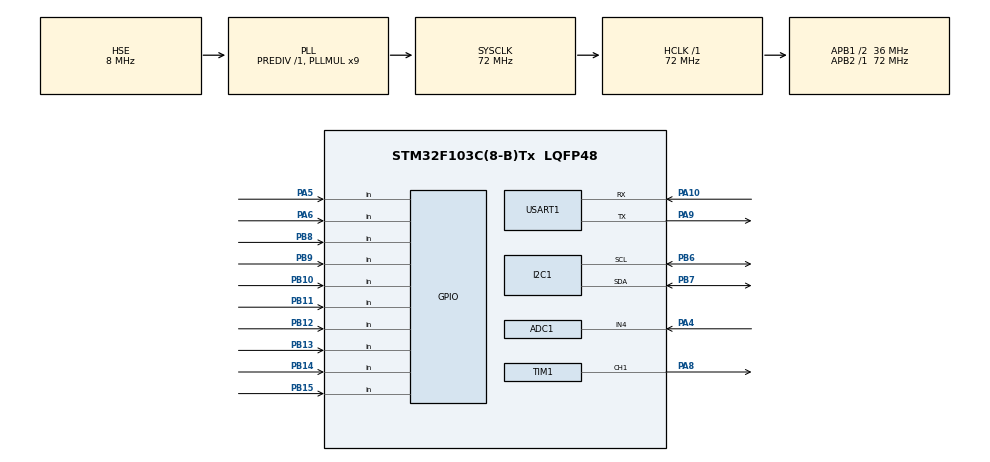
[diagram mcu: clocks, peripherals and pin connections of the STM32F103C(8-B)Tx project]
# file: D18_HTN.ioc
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ADC1.Channel-0\#ChannelRegularConversion=ADC_CHANNEL_4
ADC1.NbrOfConversionFlag=1
ADC1.Rank-0\#ChannelRegularConversion=1
ADC1.SamplingTime-0\#ChannelRegularConversion=ADC_SAMPLETIME_1CYCLE_5
ADC1.master=1
Mcu.Family=STM32F1
Mcu.Name=STM32F103C(8-B)Tx
Mcu.Package=LQFP48
NVIC.ADC1_2_IRQn=true\:3\:0\:true\:false\:true\:true\:true\:true
NVIC.PriorityGroup=NVIC_PRIORITYGROUP_4
NVIC.TIM3_IRQn=true\:1\:0\:true\:false\:true\:true\:true\:true
NVIC.USART1_IRQn=true\:2\:0\:true\:false\:true\:true\:true\:true
PA10.Mode=Asynchronous
PA10.Signal=USART1_RX
PA13.Mode=Serial_Wire
PA13.Signal=SYS_JTMS-SWDIO
PA14.Mode=Serial_Wire
PA14.Signal=SYS_JTCK-SWCLK
PA4.Signal=ADCx_IN4
PA5.GPIO_PuPd=GPIO_PULLUP
PA5.Signal=GPIO_Input
PA6.GPIO_PuPd=GPIO_PULLUP
PA6.Signal=GPIO_Input
PA8.Signal=S_TIM1_CH1
PA9.Mode=Asynchronous
PA9.Signal=USART1_TX
PB10.GPIO_PuPd=GPIO_PULLUP
PB10.Signal=GPIO_Input
PB11.GPIO_PuPd=GPIO_PULLUP
PB11.Signal=GPIO_Input
PB12.GPIO_PuPd=GPIO_PULLUP
PB12.Signal=GPIO_Input
PB13.GPIO_PuPd=GPIO_PULLUP
PB13.Signal=GPIO_Input
PB14.GPIO_PuPd=GPIO_PULLUP
PB14.Signal=GPIO_Input
PB15.GPIO_PuPd=GPIO_PULLUP
PB15.Signal=GPIO_Input
PB6.Mode=I2C
PB6.Signal=I2C1_SCL
PB7.Mode=I2C
PB7.Signal=I2C1_SDA
PB8.GPIO_PuPd=GPIO_PULLUP
PB8.Signal=GPIO_Input
PB9.GPIO_PuPd=GPIO_PULLUP
PB9.Signal=GPIO_Input
PD0-OSC_IN.Mode=HSE-External-Oscillator
PD0-OSC_IN.Signal=RCC_OSC_IN
PD1-OSC_OUT.Mode=HSE-External-Oscillator
PD1-OSC_OUT.Signal=RCC_OSC_OUT
ProjectManager.HeapSize=0x200
ProjectManager.StackSize=0x400
ProjectManager.TargetToolchain=MDK-ARM V5.32
RCC.ADCPresc=RCC_ADCPCLK2_DIV6
RCC.AHBFreq_Value=72000000
RCC.APB1CLKDivider=RCC_HCLK_DIV2
RCC.APB1Freq_Value=36000000
RCC.APB1TimFreq_Value=72000000
RCC.APB2Freq_Value=72000000
RCC.APB2TimFreq_Value=72000000
RCC.HCLKFreq_Value=72000000
RCC.PLLMUL=RCC_PLL_MUL9
RCC.PLLSourceVirtual=RCC_PLLSOURCE_HSE
RCC.SYSCLKFreq_VALUE=72000000
RCC.SYSCLKSource=RCC_SYSCLKSOURCE_PLLCLK
RCC.USBFreq_Value=72000000
SH.ADCx_IN4.0=ADC1_IN4,IN4
SH.S_TIM1_CH1.0=TIM1_CH1,PWM Generation1 CH1
TIM1.Channel-PWM\ Generation1\ CH1=TIM_CHANNEL_1
TIM1.Period=999
TIM1.Prescaler=71
TIM1.Pulse-PWM\ Generation1\ CH1=250
TIM3.Period=999
TIM3.Prescaler=71
USART1.VirtualMode=VM_ASYNC
VP_TIM1_VS_ClockSourceINT.Mode=Internal
VP_TIM3_VS_ClockSourceINT.Mode=Internal
board=custom

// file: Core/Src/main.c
/* USER CODE BEGIN Header */
/* USER CODE END Header */
#include "main.h"

/* USER CODE BEGIN Includes */
#include "keypad.h"
#include "lcd-i2c.h"
#include "buzzer.h"
#include "speaker.h"
#include <stdio.h>
#include <string.h>
/* USER CODE END Includes */

ADC_HandleTypeDef hadc1;

I2C_HandleTypeDef hi2c1;

TIM_HandleTypeDef htim1;
TIM_HandleTypeDef htim3;

UART_HandleTypeDef huart1;

void SystemClock_Config(void);
static void MX_GPIO_Init(void);
static void MX_ADC1_Init(void);
static void MX_I2C1_Init(void);
static void MX_TIM1_Init(void);
static void MX_TIM3_Init(void);
static void MX_USART1_UART_Init(void);

/* USER CODE BEGIN 0 */

// Hàm dùng chung: Truyền mã phím vào -> Loa tự kêu + Lấy được tên nốt
void Play_Key_Note(uint8_t key, char* note_str) {
    if (key == 0x01)      { Buzzer_PlayNote(524);  if(note_str) strcpy(note_str, "C5 "); }
    else if (key == 0x02) { Buzzer_PlayNote(587);  if(note_str) strcpy(note_str, "D5 "); }
    else if (key == 0x04) { Buzzer_PlayNote(661);  if(note_str) strcpy(note_str, "E5 "); }
    else if (key == 0x08) { Buzzer_PlayNote(700);  if(note_str) strcpy(note_str, "F5 "); }
    else if (key == 0x10) { Buzzer_PlayNote(784);  if(note_str) strcpy(note_str, "G5 "); }
    else if (key == 0x20) { Buzzer_PlayNote(880);  if(note_str) strcpy(note_str, "A5 "); }
    else if (key == 0x40) { Buzzer_PlayNote(988);  if(note_str) strcpy(note_str, "B5 "); }
    else if (key == 0x80) { Buzzer_PlayNote(1047); if(note_str) strcpy(note_str, "C6 "); }
    else                  { Buzzer_PlayNote(0);    if(note_str) strcpy(note_str, "---"); }
}
/* USER CODE END 0 */

int main(void)
{

  /* MCU Configuration--------------------------------------------------------*/

  /* Reset of all peripherals, Initializes the Flash interface and the Systick. */
  HAL_Init();

  /* Configure the system clock */
  SystemClock_Config();

  /* Initialize all configured peripherals */
  MX_GPIO_Init();
  MX_ADC1_Init();
  MX_I2C1_Init();
  MX_TIM1_Init();
  MX_TIM3_Init();
  MX_USART1_UART_Init();
  /* USER CODE BEGIN 2 */
HAL_TIM_Base_Start_IT(&htim3);
LCD_Init();
Buzzer_Init();
Speaker_Init(&hadc1);
  /* USER CODE END 2 */

  /* Infinite loop */
	while (1)
  {

    /* USER CODE BEGIN 3 */
    static uint32_t last_lcd_update = 0;
    static uint8_t system_mode = 0;      // 0 (Free), 1 (Record)
    static uint8_t action_state = 0;     // 0: Chờ, 1: Đang ghi, 2: Đang phát lại

    static uint8_t last_pa5 = 1;
    static uint8_t last_pa6 = 1;

// --- BIẾN THÊM VÀO ĐỂ FIX LỖI CHO MODE 2 ---
static uint32_t last_button_tick = 0;
static SongSelect_t current_selected_song = SONG_STOPPED;    // --- KHAI BÁO CÁC BIẾN CHO TÍNH NĂNG GHI/PHÁT ---
    static uint8_t rec_keys[50];         // Mảng lưu trữ tối đa 50 nốt nhạc
    static uint8_t rec_count = 0;        // Số nốt đã được ghi
    static uint8_t last_rec_key = 0;     // Chống dội khi ghi âm (nhấn giữ chỉ tính 1 nốt)
    static uint32_t play_last_tick = 0;  // Bộ đếm thời gian khi phát tự động
    static uint8_t play_idx = 0;         // Vị trí nốt đang phát lại

    char lcd_row1[17] = "                ";
    char lcd_row2[17] = "                ";
    char current_note_str[4] = "---";

    // --- 1. LẤY MÃ PHÍM ---
    uint8_t key = Keypad_GetConfirmedKey();
    uint8_t current_pa5 = HAL_GPIO_ReadPin(GPIOA, GPIO_PIN_5);
    uint8_t current_pa6 = HAL_GPIO_ReadPin(GPIOA, GPIO_PIN_6);

    // --- 2. LOGIC NÚT ĐIỀU KHIỂN (Xung cạnh xuống) ---
    if (last_pa5 == 1 && current_pa5 == 0) {
        system_mode++;
        if (system_mode > 2) system_mode = 0;

        action_state = 0;
        Buzzer_PlayNote(0);
    }

    if (last_pa6 == 1 && current_pa6 == 0) {
        if (system_mode == 1) {
            action_state++;
            if (action_state > 2) action_state = 0;

            // Nếu bắt đầu chuyển sang chế độ "Phát Lại", reset bộ đếm nốt
            if (action_state == 2) {
                play_idx = 0;
                play_last_tick = HAL_GetTick();
            }
        }
				else if (system_mode == 2) {
            current_selected_song = (SongSelect_t)((current_selected_song + 1) % 4);
            Speaker_SelectSong(current_selected_song);
        }
    }

    last_pa5 = current_pa5;
    last_pa6 = current_pa6;

    // --- 3. HIỂN THỊ GIAO DIỆN & XỬ LÝ NHẠC ---
    switch (system_mode) {
        case 0: // CHẾ ĐỘ 0: ĐÁNH TỰ DO
            sprintf(lcd_row1, "Mode: FREE PLAY ");

            Play_Key_Note(key, current_note_str); // Phát loa và lưu chữ C5, D5

            if (key != 0) {
                sprintf(lcd_row2, "Note: %-10s", current_note_str);
            } else {
                sprintf(lcd_row2, "Ready...        ");
            }
            break;

        case 1: // CHẾ ĐỘ 1: GHI ÂM & PHÁT LẠI
            sprintf(lcd_row1, "Mode: REC/PLAY  ");

            if (action_state == 0) { // Chờ nhấn OK để ghi
                sprintf(lcd_row2, "Press OK to REC ");
                Buzzer_PlayNote(0);
                rec_count = 0; // Xóa trắng mảng, chuẩn bị record bản mới
            }
            else if (action_state == 1) { // ĐANG GHI ÂM
                sprintf(lcd_row2, "REC: %02d notes  ", rec_count);
                Play_Key_Note(key, NULL);

                // Thuật toán: Chỉ lưu vào mảng ở khoảnh khắc "vừa ấn phím xuống"
                if (key != 0 && key != last_rec_key && rec_count < 50) {
                    rec_keys[rec_count] = key;
                    rec_count++;
                }
                last_rec_key = key;
            }
            else if (action_state == 2) { // ĐANG PHÁT LẠI (Tự động)
                if (rec_count == 0) {
                    sprintf(lcd_row2, "Empty Record!   ");
                    Buzzer_PlayNote(0);
                } else {
                    sprintf(lcd_row2, "PLAYING: %02d/%02d", play_idx, rec_count);

                    // Thuật toán nhịp Non-blocking (Mỗi nốt phát trong 300ms)
                    if (HAL_GetTick() - play_last_tick >= 300) {
                        play_last_tick = HAL_GetTick();

                        if (play_idx < rec_count) {
                            Play_Key_Note(rec_keys[play_idx], NULL); // Chơi nốt kế tiếp
                            play_idx++;
                        } else {
                            Buzzer_PlayNote(0); // Chơi xong toàn bộ mảng thì tắt loa
                        }
                    }
                    // Nhả phím ảo: Tạo khoảng nghỉ 50ms giữa các nốt
                    else if (HAL_GetTick() - play_last_tick >= 250) {
                        Buzzer_PlayNote(0);
                    }
                }
            }
            break;
					case 2: // CHẾ ĐỘ 2: PHÁT NHẠC CÓ SẴN (Của SV3)
		sprintf(lcd_row1, "Mode: SONG PLAY ");
    // SV3 yêu cầu gọi hàm FSM này liên tục
    Speaker_Process_FSM();

    sprintf(lcd_row2, "Song: %d         ", current_selected_song);
    break;
    }

    // --- 4. CẬP NHẬT MÀN HÌNH CHỐNG NHIỄU (200ms) ---
    if (HAL_GetTick() - last_lcd_update >= 200) {
        last_lcd_update = HAL_GetTick();

        LCD_Set_Cursor(0, 0);
        LCD_Send_String(lcd_row1);
        LCD_Set_Cursor(1, 0);
        LCD_Send_String(lcd_row2);
    }
	}
  /* USER CODE END 3 */
}

void SystemClock_Config(void)
{
  RCC_OscInitTypeDef RCC_OscInitStruct = {0};
  RCC_ClkInitTypeDef RCC_ClkInitStruct = {0};
  RCC_PeriphCLKInitTypeDef PeriphClkInit = {0};

  /** Initializes the RCC Oscillators according to the specified parameters
  * in the RCC_OscInitTypeDef structure.
  */
  RCC_OscInitStruct.OscillatorType = RCC_OSCILLATORTYPE_HSE;
  RCC_OscInitStruct.HSEState = RCC_HSE_ON;
  RCC_OscInitStruct.HSEPredivValue = RCC_HSE_PREDIV_DIV1;
  RCC_OscInitStruct.HSIState = RCC_HSI_ON;
  RCC_OscInitStruct.PLL.PLLState = RCC_PLL_ON;
  RCC_OscInitStruct.PLL.PLLSource = RCC_PLLSOURCE_HSE;
  RCC_OscInitStruct.PLL.PLLMUL = RCC_PLL_MUL9;
  if (HAL_RCC_OscConfig(&RCC_OscInitStruct) != HAL_OK)
  {
    Error_Handler();
  }

  /** Initializes the CPU, AHB and APB buses clocks
  */
  RCC_ClkInitStruct.ClockType = RCC_CLOCKTYPE_HCLK|RCC_CLOCKTYPE_SYSCLK
                              |RCC_CLOCKTYPE_PCLK1|RCC_CLOCKTYPE_PCLK2;
  RCC_ClkInitStruct.SYSCLKSource = RCC_SYSCLKSOURCE_PLLCLK;
  RCC_ClkInitStruct.AHBCLKDivider = RCC_SYSCLK_DIV1;
  RCC_ClkInitStruct.APB1CLKDivider = RCC_HCLK_DIV2;
  RCC_ClkInitStruct.APB2CLKDivider = RCC_HCLK_DIV1;

  if (HAL_RCC_ClockConfig(&RCC_ClkInitStruct, FLASH_LATENCY_2) != HAL_OK)
  {
    Error_Handler();
  }
  PeriphClkInit.PeriphClockSelection = RCC_PERIPHCLK_ADC;
  PeriphClkInit.AdcClockSelection = RCC_ADCPCLK2_DIV6;
  if (HAL_RCCEx_PeriphCLKConfig(&PeriphClkInit) != HAL_OK)
  {
    Error_Handler();
  }
}

static void MX_ADC1_Init(void)
{

  ADC_ChannelConfTypeDef sConfig = {0};

  /** Common config
  */
  hadc1.Instance = ADC1;
  hadc1.Init.ScanConvMode = ADC_SCAN_DISABLE;
  hadc1.Init.ContinuousConvMode = DISABLE;
  hadc1.Init.DiscontinuousConvMode = DISABLE;
  hadc1.Init.ExternalTrigConv = ADC_SOFTWARE_START;
  hadc1.Init.DataAlign = ADC_DATAALIGN_RIGHT;
  hadc1.Init.NbrOfConversion = 1;
  if (HAL_ADC_Init(&hadc1) != HAL_OK)
  {
    Error_Handler();
  }

  /** Configure Regular Channel
  */
  sConfig.Channel = ADC_CHANNEL_4;
  sConfig.Rank = ADC_REGULAR_RANK_1;
  sConfig.SamplingTime = ADC_SAMPLETIME_1CYCLE_5;
  if (HAL_ADC_ConfigChannel(&hadc1, &sConfig) != HAL_OK)
  {
    Error_Handler();
  }

}

static void MX_I2C1_Init(void)
{

  hi2c1.Instance = I2C1;
  hi2c1.Init.ClockSpeed = 100000;
  hi2c1.Init.DutyCycle = I2C_DUTYCYCLE_2;
  hi2c1.Init.OwnAddress1 = 0;
  hi2c1.Init.AddressingMode = I2C_ADDRESSINGMODE_7BIT;
  hi2c1.Init.DualAddressMode = I2C_DUALADDRESS_DISABLE;
  hi2c1.Init.OwnAddress2 = 0;
  hi2c1.Init.GeneralCallMode = I2C_GENERALCALL_DISABLE;
  hi2c1.Init.NoStretchMode = I2C_NOSTRETCH_DISABLE;
  if (HAL_I2C_Init(&hi2c1) != HAL_OK)
  {
    Error_Handler();
  }

}

static void MX_TIM1_Init(void)
{

  TIM_ClockConfigTypeDef sClockSourceConfig = {0};
  TIM_MasterConfigTypeDef sMasterConfig = {0};
  TIM_OC_InitTypeDef sConfigOC = {0};
  TIM_BreakDeadTimeConfigTypeDef sBreakDeadTimeConfig = {0};

  htim1.Instance = TIM1;
  htim1.Init.Prescaler = 71;
  htim1.Init.CounterMode = TIM_COUNTERMODE_UP;
  htim1.Init.Period = 999;
  htim1.Init.ClockDivision = TIM_CLOCKDIVISION_DIV1;
  htim1.Init.RepetitionCounter = 0;
  htim1.Init.AutoReloadPreload = TIM_AUTORELOAD_PRELOAD_ENABLE;
  if (HAL_TIM_Base_Init(&htim1) != HAL_OK)
  {
    Error_Handler();
  }
  sClockSourceConfig.ClockSource = TIM_CLOCKSOURCE_INTERNAL;
  if (HAL_TIM_ConfigClockSource(&htim1, &sClockSourceConfig) != HAL_OK)
  {
    Error_Handler();
  }
  if (HAL_TIM_PWM_Init(&htim1) != HAL_OK)
  {
    Error_Handler();
  }
  sMasterConfig.MasterOutputTrigger = TIM_TRGO_RESET;
  sMasterConfig.MasterSlaveMode = TIM_MASTERSLAVEMODE_DISABLE;
  if (HAL_TIMEx_MasterConfigSynchronization(&htim1, &sMasterConfig) != HAL_OK)
  {
    Error_Handler();
  }
  sConfigOC.OCMode = TIM_OCMODE_PWM1;
  sConfigOC.Pulse = 250;
  sConfigOC.OCPolarity = TIM_OCPOLARITY_HIGH;
  sConfigOC.OCNPolarity = TIM_OCNPOLARITY_HIGH;
  sConfigOC.OCFastMode = TIM_OCFAST_DISABLE;
  sConfigOC.OCIdleState = TIM_OCIDLESTATE_RESET;
  sConfigOC.OCNIdleState = TIM_OCNIDLESTATE_RESET;
  if (HAL_TIM_PWM_ConfigChannel(&htim1, &sConfigOC, TIM_CHANNEL_1) != HAL_OK)
  {
    Error_Handler();
  }
  sBreakDeadTimeConfig.OffStateRunMode = TIM_OSSR_DISABLE;
  sBreakDeadTimeConfig.OffStateIDLEMode = TIM_OSSI_DISABLE;
  sBreakDeadTimeConfig.LockLevel = TIM_LOCKLEVEL_OFF;
  sBreakDeadTimeConfig.DeadTime = 0;
  sBreakDeadTimeConfig.BreakState = TIM_BREAK_DISABLE;
  sBreakDeadTimeConfig.BreakPolarity = TIM_BREAKPOLARITY_HIGH;
  sBreakDeadTimeConfig.AutomaticOutput = TIM_AUTOMATICOUTPUT_DISABLE;
  if (HAL_TIMEx_ConfigBreakDeadTime(&htim1, &sBreakDeadTimeConfig) != HAL_OK)
  {
    Error_Handler();
  }
  HAL_TIM_MspPostInit(&htim1);

}

static void MX_TIM3_Init(void)
{

  TIM_ClockConfigTypeDef sClockSourceConfig = {0};
  TIM_MasterConfigTypeDef sMasterConfig = {0};

  htim3.Instance = TIM3;
  htim3.Init.Prescaler = 71;
  htim3.Init.CounterMode = TIM_COUNTERMODE_UP;
  htim3.Init.Period = 999;
  htim3.Init.ClockDivision = TIM_CLOCKDIVISION_DIV1;
  htim3.Init.AutoReloadPreload = TIM_AUTORELOAD_PRELOAD_DISABLE;
  if (HAL_TIM_Base_Init(&htim3) != HAL_OK)
  {
    Error_Handler();
  }
  sClockSourceConfig.ClockSource = TIM_CLOCKSOURCE_INTERNAL;
  if (HAL_TIM_ConfigClockSource(&htim3, &sClockSourceConfig) != HAL_OK)
  {
    Error_Handler();
  }
  sMasterConfig.MasterOutputTrigger = TIM_TRGO_RESET;
  sMasterConfig.MasterSlaveMode = TIM_MASTERSLAVEMODE_DISABLE;
  if (HAL_TIMEx_MasterConfigSynchronization(&htim3, &sMasterConfig) != HAL_OK)
  {
    Error_Handler();
  }

}

static void MX_USART1_UART_Init(void)
{

  huart1.Instance = USART1;
  huart1.Init.BaudRate = 115200;
  huart1.Init.WordLength = UART_WORDLENGTH_8B;
  huart1.Init.StopBits = UART_STOPBITS_1;
  huart1.Init.Parity = UART_PARITY_NONE;
  huart1.Init.Mode = UART_MODE_TX_RX;
  huart1.Init.HwFlowCtl = UART_HWCONTROL_NONE;
  huart1.Init.OverSampling = UART_OVERSAMPLING_16;
  if (HAL_UART_Init(&huart1) != HAL_OK)
  {
    Error_Handler();
  }

}

static void MX_GPIO_Init(void)
{
  GPIO_InitTypeDef GPIO_InitStruct = {0};

  /* GPIO Ports Clock Enable */
  __HAL_RCC_GPIOD_CLK_ENABLE();
  __HAL_RCC_GPIOA_CLK_ENABLE();
  __HAL_RCC_GPIOB_CLK_ENABLE();

  /*Configure GPIO pins : PA5 PA6 */
  GPIO_InitStruct.Pin = GPIO_PIN_5|GPIO_PIN_6;
  GPIO_InitStruct.Mode = GPIO_MODE_INPUT;
  GPIO_InitStruct.Pull = GPIO_PULLUP;
  HAL_GPIO_Init(GPIOA, &GPIO_InitStruct);

  /*Configure GPIO pins : PB10 PB11 PB12 PB13
                           PB14 PB15 PB8 PB9 */
  GPIO_InitStruct.Pin = GPIO_PIN_10|GPIO_PIN_11|GPIO_PIN_12|GPIO_PIN_13
                          |GPIO_PIN_14|GPIO_PIN_15|GPIO_PIN_8|GPIO_PIN_9;
  GPIO_InitStruct.Mode = GPIO_MODE_INPUT;
  GPIO_InitStruct.Pull = GPIO_PULLUP;
  HAL_GPIO_Init(GPIOB, &GPIO_InitStruct);

}

/* USER CODE BEGIN 4 */
void HAL_TIM_PeriodElapsedCallback(TIM_HandleTypeDef *htim)
{
    if (htim->Instance == TIM3)
    {
        Keypad_ScanCallback();
    }
}
/* USER CODE END 4 */

void Error_Handler(void)
{
}
